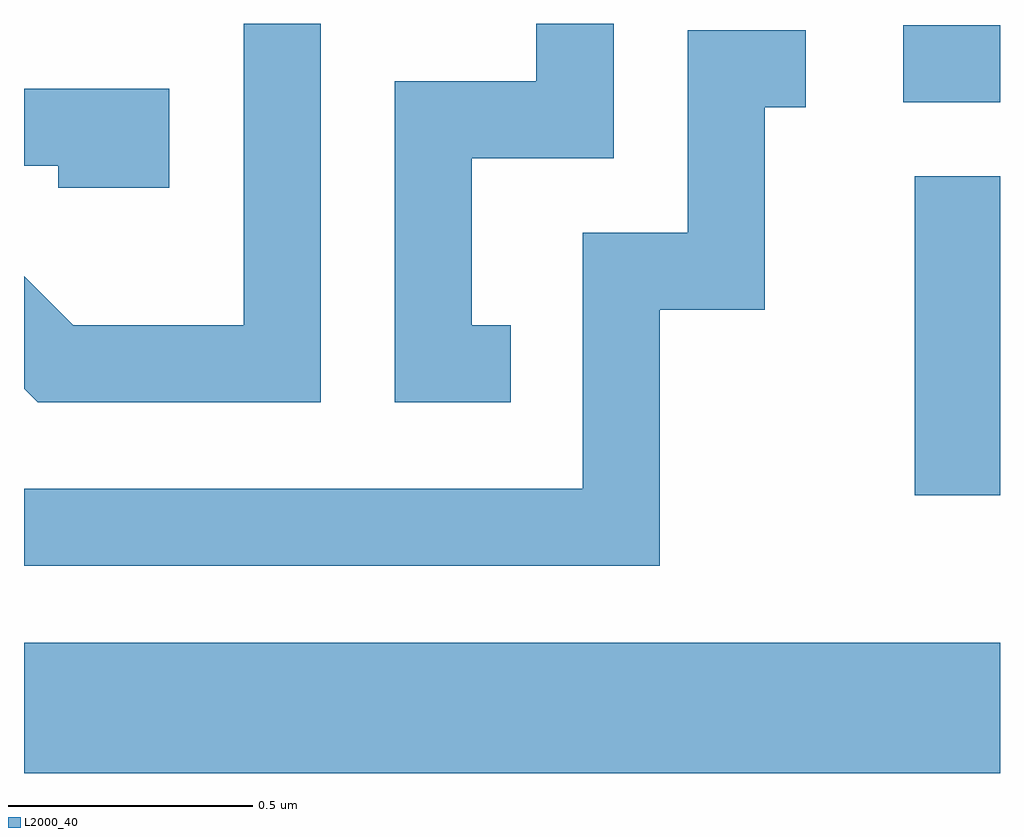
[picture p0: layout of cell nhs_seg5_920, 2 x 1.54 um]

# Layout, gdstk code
import gdstk
lib = gdstk.Library(unit=1e-6, precision=1e-09)
def R(c, l, rs):  # rectangles x0, y0, x1, y1
    for r in rs: c.add(gdstk.rectangle(r[:2], r[2:], *l))
def P(c, l, *ps):  # polygons
    for p in ps: c.add(gdstk.Polygon(p, *l))
L2000_40 = (2000, 40)

nhs_seg5_920 = lib.new_cell('nhs_seg5_920')
R(nhs_seg5_920, L2000_40, [(191.611,1494.536,193.611,1494.804), (193.436,1495.106,193.611,1495.759), (193.413,1495.911,193.611,1496.069)])
P(nhs_seg5_920, L2000_40, [(192.219,1496.072),(192.061,1496.072),(192.061,1495.454),(191.712,1495.454),(191.611,1495.555),(191.611,1495.324),(191.639,1495.296),(192.219,1495.296)],
  [(192.608,1495.454),(192.529,1495.454),(192.529,1495.796),(192.819,1495.796),(192.819,1496.072),(192.661,1496.072),(192.661,1495.954),(192.371,1495.954),(192.371,1495.296),(192.608,1495.296)],
  [(192.914,1495.486),(193.129,1495.486),(193.129,1495.901),(193.213,1495.901),(193.213,1496.059),(192.971,1496.059),(192.971,1495.644),(192.756,1495.644),(192.756,1495.119),(191.611,1495.119),(191.611,1494.961),(192.914,1494.961)],
  [(191.909,1495.939),(191.611,1495.939),(191.611,1495.781),(191.681,1495.781),(191.681,1495.736),(191.909,1495.736)])

lib.write_gds('nhs_seg5_920.gds')
